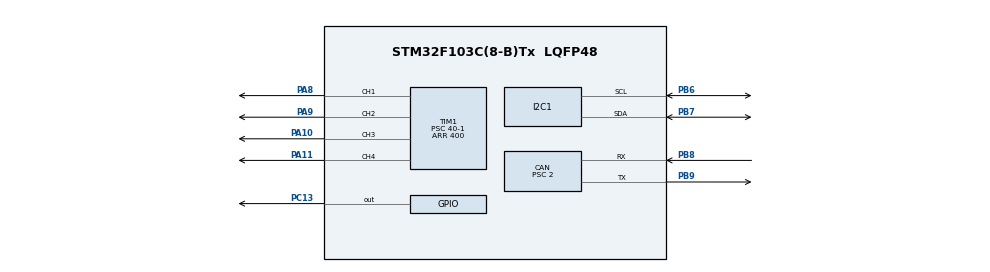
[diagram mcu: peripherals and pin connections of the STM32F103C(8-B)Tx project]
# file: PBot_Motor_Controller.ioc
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CAN.BS1=CAN_BS1_13TQ
CAN.BS2=CAN_BS2_2TQ
CAN.CalculateBaudRate=250000
CAN.CalculateTimeBit=4000
CAN.CalculateTimeQuantum=250.0
CAN.Prescaler=2
Mcu.Family=STM32F1
Mcu.Name=STM32F103C(8-B)Tx
Mcu.Package=LQFP48
NVIC.CAN1_RX1_IRQn=true\:0\:0\:false\:false\:true\:true\:true\:true
NVIC.PriorityGroup=NVIC_PRIORITYGROUP_4
NVIC.TIM2_IRQn=true\:0\:0\:false\:false\:true\:true\:true\:true
PA10.Signal=S_TIM1_CH3
PA11.Signal=S_TIM1_CH4
PA13.Mode=Serial_Wire
PA13.Signal=SYS_JTMS-SWDIO
PA14.Mode=Serial_Wire
PA14.Signal=SYS_JTCK-SWCLK
PA8.Signal=S_TIM1_CH1
PA9.Signal=S_TIM1_CH2
PB6.Mode=I2C
PB6.Signal=I2C1_SCL
PB7.Mode=I2C
PB7.Signal=I2C1_SDA
PB8.Mode=CAN_Activate
PB8.Signal=CAN_RX
PB9.Mode=CAN_Activate
PB9.Signal=CAN_TX
PC13-TAMPER-RTC.Signal=GPIO_Output
ProjectManager.HeapSize=0x200
ProjectManager.StackSize=0x400
ProjectManager.TargetToolchain=CMake
RCC.APB1Freq_Value=8000000
RCC.APB2Freq_Value=8000000
SH.S_TIM1_CH1.0=TIM1_CH1,PWM Generation1 CH1
SH.S_TIM1_CH2.0=TIM1_CH2,PWM Generation2 CH2
SH.S_TIM1_CH3.0=TIM1_CH3,PWM Generation3 CH3
SH.S_TIM1_CH4.0=TIM1_CH4,PWM Generation4 CH4
TIM1.AutoReloadPreload=TIM_AUTORELOAD_PRELOAD_DISABLE
TIM1.Channel-PWM\ Generation1\ CH1=TIM_CHANNEL_1
TIM1.Channel-PWM\ Generation2\ CH2=TIM_CHANNEL_2
TIM1.Channel-PWM\ Generation3\ CH3=TIM_CHANNEL_3
TIM1.Channel-PWM\ Generation4\ CH4=TIM_CHANNEL_4
TIM1.Period=400
TIM1.Prescaler=40-1
TIM1.Pulse-PWM\ Generation1\ CH1=0
TIM1.Pulse-PWM\ Generation2\ CH2=0
TIM2.Period=1000
TIM2.Prescaler=80-1
VP_TIM1_VS_ClockSourceINT.Mode=Internal
VP_TIM2_VS_ClockSourceINT.Mode=Internal
board=custom

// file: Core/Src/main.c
/* USER CODE BEGIN Header */
/**
 ******************************************************************************
 * @file           : main.c
 * @brief          : Main program body
 ******************************************************************************
 * @attention
 *
 * Copyright (c) 2026 STMicroelectronics.
 * All rights reserved.
 *
 * This software is licensed under terms that can be found in the LICENSE file
 * in the root directory of this software component.
 * If no LICENSE file comes with this software, it is provided AS-IS.
 *
 ******************************************************************************
 */
/* USER CODE END Header */
#include "main.h"

/* USER CODE BEGIN Includes */

#include "canbus.h"
#include "structs.h"

/* USER CODE END Includes */

CAN_HandleTypeDef hcan;

I2C_HandleTypeDef hi2c1;

TIM_HandleTypeDef htim1;
TIM_HandleTypeDef htim2;

/* USER CODE BEGIN PV */
volatile uint8_t count_10ms  = 0;
volatile uint8_t count_100ms = 0;
volatile uint8_t count_1s    = 0;
volatile uint8_t flag_reg    = 0x00;
uint16_t         count       = 0;

MotorController mc;

/* USER CODE END PV */

void        SystemClock_Config(void);
static void MX_GPIO_Init(void);
static void MX_CAN_Init(void);
static void MX_I2C1_Init(void);
static void MX_TIM2_Init(void);
static void MX_TIM1_Init(void);

int main(void) {

    /* MCU Configuration--------------------------------------------------------*/

    /* Reset of all peripherals, Initializes the Flash interface and the Systick. */
    HAL_Init();

    /* Configure the system clock */
    SystemClock_Config();

    /* Initialize all configured peripherals */
    MX_GPIO_Init();
    MX_CAN_Init();
    MX_I2C1_Init();
    MX_TIM2_Init();
    MX_TIM1_Init();
    /* USER CODE BEGIN 2 */
    HAL_TIM_Base_Start_IT(&htim2);
    HAL_TIM_PWM_Start(&htim1, TIM_CHANNEL_1);
    HAL_TIM_PWM_Start(&htim1, TIM_CHANNEL_2);
    HAL_TIM_PWM_Start(&htim1, TIM_CHANNEL_3);
    HAL_TIM_PWM_Start(&htim1, TIM_CHANNEL_4);
    mc_init(&mc, &htim1, &hi2c1);
    can_init(&hcan);
    // mc.motor_l.en_uns = -100;

    /* USER CODE END 2 */

    /* Infinite loop */
    /* USER CODE BEGIN WHILE */
    while (1) {
        if (flag_reg & (1 << 0)) {  // per 10 ms
            flag_reg &= ~(1 << 0);

            // mc.state.bits.req_all = 1;
            mc_reply(&mc);
            mc_set_motors(&mc);
        }
        if (flag_reg & (1 << 1)) {  // per 100ms
            flag_reg &= ~(1 << 1);
        }
        if (flag_reg & (1 << 2)) {  // per s
            flag_reg &= ~(1 << 2);
            HAL_GPIO_TogglePin(GPIOC, GPIO_PIN_13);
            // HAL_GPIO_TogglePin(GPIOA, GPIO_PIN_8);
            // mc.motor_l.en_uns += 5;

            mc_update(&mc);
            count += 10;
        }
        /* USER CODE END WHILE */

    }
}

void SystemClock_Config(void) {
    RCC_OscInitTypeDef RCC_OscInitStruct = {0};
    RCC_ClkInitTypeDef RCC_ClkInitStruct = {0};

    /** Initializes the RCC Oscillators according to the specified parameters
     * in the RCC_OscInitTypeDef structure.
     */
    RCC_OscInitStruct.OscillatorType      = RCC_OSCILLATORTYPE_HSI;
    RCC_OscInitStruct.HSIState            = RCC_HSI_ON;
    RCC_OscInitStruct.HSICalibrationValue = RCC_HSICALIBRATION_DEFAULT;
    RCC_OscInitStruct.PLL.PLLState        = RCC_PLL_NONE;
    if (HAL_RCC_OscConfig(&RCC_OscInitStruct) != HAL_OK) {
        Error_Handler();
    }

    /** Initializes the CPU, AHB and APB buses clocks
     */
    RCC_ClkInitStruct.ClockType      = RCC_CLOCKTYPE_HCLK | RCC_CLOCKTYPE_SYSCLK | RCC_CLOCKTYPE_PCLK1 | RCC_CLOCKTYPE_PCLK2;
    RCC_ClkInitStruct.SYSCLKSource   = RCC_SYSCLKSOURCE_HSI;
    RCC_ClkInitStruct.AHBCLKDivider  = RCC_SYSCLK_DIV1;
    RCC_ClkInitStruct.APB1CLKDivider = RCC_HCLK_DIV1;
    RCC_ClkInitStruct.APB2CLKDivider = RCC_HCLK_DIV1;

    if (HAL_RCC_ClockConfig(&RCC_ClkInitStruct, FLASH_LATENCY_0) != HAL_OK) {
        Error_Handler();
    }
}

static void MX_CAN_Init(void) {

    hcan.Instance                  = CAN1;
    hcan.Init.Prescaler            = 2;
    hcan.Init.Mode                 = CAN_MODE_NORMAL;
    hcan.Init.SyncJumpWidth        = CAN_SJW_1TQ;
    hcan.Init.TimeSeg1             = CAN_BS1_13TQ;
    hcan.Init.TimeSeg2             = CAN_BS2_2TQ;
    hcan.Init.TimeTriggeredMode    = DISABLE;
    hcan.Init.AutoBusOff           = DISABLE;
    hcan.Init.AutoWakeUp           = DISABLE;
    hcan.Init.AutoRetransmission   = DISABLE;
    hcan.Init.ReceiveFifoLocked    = DISABLE;
    hcan.Init.TransmitFifoPriority = DISABLE;
    if (HAL_CAN_Init(&hcan) != HAL_OK) {
        Error_Handler();
    }
}

static void MX_I2C1_Init(void) {

    hi2c1.Instance             = I2C1;
    hi2c1.Init.ClockSpeed      = 100000;
    hi2c1.Init.DutyCycle       = I2C_DUTYCYCLE_2;
    hi2c1.Init.OwnAddress1     = 0;
    hi2c1.Init.AddressingMode  = I2C_ADDRESSINGMODE_7BIT;
    hi2c1.Init.DualAddressMode = I2C_DUALADDRESS_DISABLE;
    hi2c1.Init.OwnAddress2     = 0;
    hi2c1.Init.GeneralCallMode = I2C_GENERALCALL_DISABLE;
    hi2c1.Init.NoStretchMode   = I2C_NOSTRETCH_DISABLE;
    if (HAL_I2C_Init(&hi2c1) != HAL_OK) {
        Error_Handler();
    }
}

static void MX_TIM1_Init(void) {

    TIM_ClockConfigTypeDef         sClockSourceConfig   = {0};
    TIM_MasterConfigTypeDef        sMasterConfig        = {0};
    TIM_OC_InitTypeDef             sConfigOC            = {0};
    TIM_BreakDeadTimeConfigTypeDef sBreakDeadTimeConfig = {0};

    htim1.Instance               = TIM1;
    htim1.Init.Prescaler         = 40 - 1;
    htim1.Init.CounterMode       = TIM_COUNTERMODE_UP;
    htim1.Init.Period            = 400;
    htim1.Init.ClockDivision     = TIM_CLOCKDIVISION_DIV1;
    htim1.Init.RepetitionCounter = 0;
    htim1.Init.AutoReloadPreload = TIM_AUTORELOAD_PRELOAD_DISABLE;
    if (HAL_TIM_Base_Init(&htim1) != HAL_OK) {
        Error_Handler();
    }
    sClockSourceConfig.ClockSource = TIM_CLOCKSOURCE_INTERNAL;
    if (HAL_TIM_ConfigClockSource(&htim1, &sClockSourceConfig) != HAL_OK) {
        Error_Handler();
    }
    if (HAL_TIM_PWM_Init(&htim1) != HAL_OK) {
        Error_Handler();
    }
    sMasterConfig.MasterOutputTrigger = TIM_TRGO_RESET;
    sMasterConfig.MasterSlaveMode     = TIM_MASTERSLAVEMODE_DISABLE;
    if (HAL_TIMEx_MasterConfigSynchronization(&htim1, &sMasterConfig) != HAL_OK) {
        Error_Handler();
    }
    sConfigOC.OCMode       = TIM_OCMODE_PWM1;
    sConfigOC.Pulse        = 0;
    sConfigOC.OCPolarity   = TIM_OCPOLARITY_HIGH;
    sConfigOC.OCNPolarity  = TIM_OCNPOLARITY_HIGH;
    sConfigOC.OCFastMode   = TIM_OCFAST_DISABLE;
    sConfigOC.OCIdleState  = TIM_OCIDLESTATE_RESET;
    sConfigOC.OCNIdleState = TIM_OCNIDLESTATE_RESET;
    if (HAL_TIM_PWM_ConfigChannel(&htim1, &sConfigOC, TIM_CHANNEL_1) != HAL_OK) {
        Error_Handler();
    }
    if (HAL_TIM_PWM_ConfigChannel(&htim1, &sConfigOC, TIM_CHANNEL_2) != HAL_OK) {
        Error_Handler();
    }
    if (HAL_TIM_PWM_ConfigChannel(&htim1, &sConfigOC, TIM_CHANNEL_3) != HAL_OK) {
        Error_Handler();
    }
    if (HAL_TIM_PWM_ConfigChannel(&htim1, &sConfigOC, TIM_CHANNEL_4) != HAL_OK) {
        Error_Handler();
    }
    sBreakDeadTimeConfig.OffStateRunMode  = TIM_OSSR_DISABLE;
    sBreakDeadTimeConfig.OffStateIDLEMode = TIM_OSSI_DISABLE;
    sBreakDeadTimeConfig.LockLevel        = TIM_LOCKLEVEL_OFF;
    sBreakDeadTimeConfig.DeadTime         = 0;
    sBreakDeadTimeConfig.BreakState       = TIM_BREAK_DISABLE;
    sBreakDeadTimeConfig.BreakPolarity    = TIM_BREAKPOLARITY_HIGH;
    sBreakDeadTimeConfig.AutomaticOutput  = TIM_AUTOMATICOUTPUT_DISABLE;
    if (HAL_TIMEx_ConfigBreakDeadTime(&htim1, &sBreakDeadTimeConfig) != HAL_OK) {
        Error_Handler();
    }
    HAL_TIM_MspPostInit(&htim1);
}

static void MX_TIM2_Init(void) {

    TIM_ClockConfigTypeDef  sClockSourceConfig = {0};
    TIM_MasterConfigTypeDef sMasterConfig      = {0};

    htim2.Instance               = TIM2;
    htim2.Init.Prescaler         = 80 - 1;
    htim2.Init.CounterMode       = TIM_COUNTERMODE_UP;
    htim2.Init.Period            = 1000;
    htim2.Init.ClockDivision     = TIM_CLOCKDIVISION_DIV1;
    htim2.Init.AutoReloadPreload = TIM_AUTORELOAD_PRELOAD_DISABLE;
    if (HAL_TIM_Base_Init(&htim2) != HAL_OK) {
        Error_Handler();
    }
    sClockSourceConfig.ClockSource = TIM_CLOCKSOURCE_INTERNAL;
    if (HAL_TIM_ConfigClockSource(&htim2, &sClockSourceConfig) != HAL_OK) {
        Error_Handler();
    }
    sMasterConfig.MasterOutputTrigger = TIM_TRGO_RESET;
    sMasterConfig.MasterSlaveMode     = TIM_MASTERSLAVEMODE_DISABLE;
    if (HAL_TIMEx_MasterConfigSynchronization(&htim2, &sMasterConfig) != HAL_OK) {
        Error_Handler();
    }
}

static void MX_GPIO_Init(void) {
    GPIO_InitTypeDef GPIO_InitStruct = {0};

    /* GPIO Ports Clock Enable */
    __HAL_RCC_GPIOC_CLK_ENABLE();
    __HAL_RCC_GPIOA_CLK_ENABLE();
    __HAL_RCC_GPIOB_CLK_ENABLE();

    /*Configure GPIO pin Output Level */
    HAL_GPIO_WritePin(GPIOC, GPIO_PIN_13, GPIO_PIN_RESET);

    /*Configure GPIO pin : PC13 */
    GPIO_InitStruct.Pin   = GPIO_PIN_13;
    GPIO_InitStruct.Mode  = GPIO_MODE_OUTPUT_PP;
    GPIO_InitStruct.Pull  = GPIO_NOPULL;
    GPIO_InitStruct.Speed = GPIO_SPEED_FREQ_LOW;
    HAL_GPIO_Init(GPIOC, &GPIO_InitStruct);

}

/* USER CODE BEGIN 4 */

void HAL_TIM_PeriodElapsedCallback(TIM_HandleTypeDef* htim) {
    if (htim->Instance == TIM2) {
        flag_reg |= (1 << 0);
        count_10ms++;
        if (count_10ms >= 10) {
            count_10ms = 0;
            flag_reg |= (1 << 1);
            count_100ms++;
            if (count_100ms >= 10) {
                count_100ms = 0;
                flag_reg |= 1 << 2;
            }
        }
    }
}

void HAL_CAN_RxFifo1MsgPendingCallback(CAN_HandleTypeDef* hcan) {
    HAL_CAN_GetRxMessage(hcan, CAN_RX_FIFO1, &RxHeader, RxData);

    switch (RxHeader.StdId) {
        case DATA_REQ:
            switch (RxData[0]) {
                case GET_STAT:
                    mc.state.bits.req_stat = 1;
                    break;
                case GET_ENC:
                    mc.state.bits.req_enc = 1;
                    break;
                case GET_ALL:
                    mc.state.bits.req_all = 1;
                    break;
            }
            break;
        // case SET_MODE:
        //     switch (RxData[0]) {
        //         case SET_PWR_ON:
        //             // pc.state.bits.mode = MODE_PWR_ON;
        //             break;
        //         case SET_PWR_SAV:
        //             // pc.state.bits.mode = MODE_PWR_SAV;
        //             break;
        //     }
        //     break;
        case CMD_VEL:
            mc.motor_l.en_uns = (int16_t) (((uint16_t) RxData[1] << 8) | RxData[0]);
            mc.motor_r.en_uns = (int16_t) (((uint16_t) RxData[3] << 8) | RxData[2]);
            mc.cmd_vel_timeout = 0;
            break;
    }
}

/* USER CODE END 4 */

void Error_Handler(void) {
    __disable_irq();
    while (1) {
    }
}
